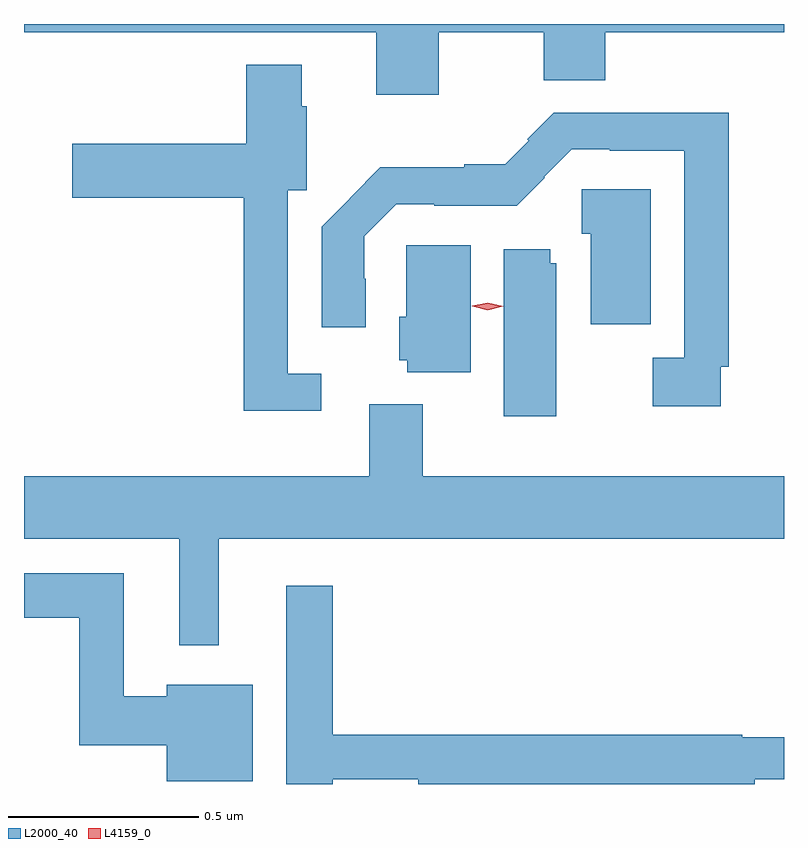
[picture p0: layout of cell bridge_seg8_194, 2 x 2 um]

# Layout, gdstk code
import gdstk
lib = gdstk.Library(unit=1e-6, precision=1e-09)
def P(c, l, *ps):  # polygons
    for p in ps: c.add(gdstk.Polygon(p, *l))
L2000_40 = (2000, 40)
L4159_0 = (4159, 0)

bridge_seg8_194 = lib.new_cell('bridge_seg8_194')
P(bridge_seg8_194, L2000_40, [(355.888,1089.86),(356.165,1089.86),(356.165,1089.734),(356.326,1089.734),(356.326,1089.86),(356.797,1089.86),(356.797,1089.882),(354.797,1089.882),(354.797,1089.86),(355.724,1089.86),(355.724,1089.696),(355.888,1089.696)],
  [(355.579,1088.961),(355.491,1088.961),(355.491,1089.444),(355.541,1089.444),(355.541,1089.665),(355.528,1089.665),(355.528,1089.775),(355.382,1089.775),(355.382,1089.567),(354.924,1089.567),(354.924,1089.425),(355.375,1089.425),(355.375,1088.864),(355.579,1088.864)],
  [(356.631,1088.98),(356.651,1088.98),(356.651,1089.649),(356.191,1089.649),(356.121,1089.579),(356.125,1089.575),(356.063,1089.513),(355.955,1089.513),(355.955,1089.505),(355.735,1089.505),(355.654,1089.423),(355.654,1089.422),(355.58,1089.348),(355.58,1089.084),(355.696,1089.084),(355.696,1089.211),(355.692,1089.211),(355.692,1089.324),(355.776,1089.408),(355.876,1089.408),(355.876,1089.404),(356.094,1089.404),(356.168,1089.478),(356.166,1089.48),(356.238,1089.552),(356.338,1089.552),(356.338,1089.548),(356.535,1089.548),(356.535,1089.004),(356.451,1089.004),(356.451,1088.876),(356.631,1088.876)],
  [(356.446,1089.447),(356.265,1089.447),(356.265,1089.33),(356.288,1089.33),(356.288,1089.092),(356.446,1089.092)],
  [(355.972,1089.3),(355.803,1089.3),(355.803,1089.111),(355.784,1089.111),(355.784,1088.997),(355.806,1088.997),(355.806,1088.966),(355.972,1088.966)],
  [(356.197,1089.252),(356.182,1089.252),(356.182,1089.289),(356.06,1089.289),(356.06,1088.85),(356.197,1088.85)],
  [(355.309,1088.528),(356.797,1088.528),(356.797,1088.692),(355.846,1088.692),(355.846,1088.881),(355.706,1088.881),(355.706,1088.692),(354.797,1088.692),(354.797,1088.528),(355.205,1088.528),(355.205,1088.247),(355.309,1088.247)],
  [(355.399,1088.143),(355.172,1088.143),(355.172,1088.113),(355.06,1088.113),(355.06,1088.436),(354.797,1088.436),(354.797,1088.32),(354.943,1088.32),(354.943,1087.984),(355.172,1087.984),(355.172,1087.889),(355.399,1087.889)],
  [(355.609,1087.895),(355.834,1087.895),(355.834,1087.882),(356.72,1087.882),(356.72,1087.895),(356.797,1087.895),(356.797,1088.005),(356.687,1088.005),(356.687,1088.012),(355.609,1088.012),(355.609,1088.404),(355.487,1088.404),(355.487,1087.882),(355.609,1087.882)])
P(bridge_seg8_194, L4159_0, [(356.017,1089.129),(355.976,1089.139),(355.976,1089.139),(355.976,1089.14),(356.017,1089.149),(356.058,1089.139),(356.058,1089.139),(356.058,1089.139)])

lib.write_gds('bridge_seg8_194.gds')
